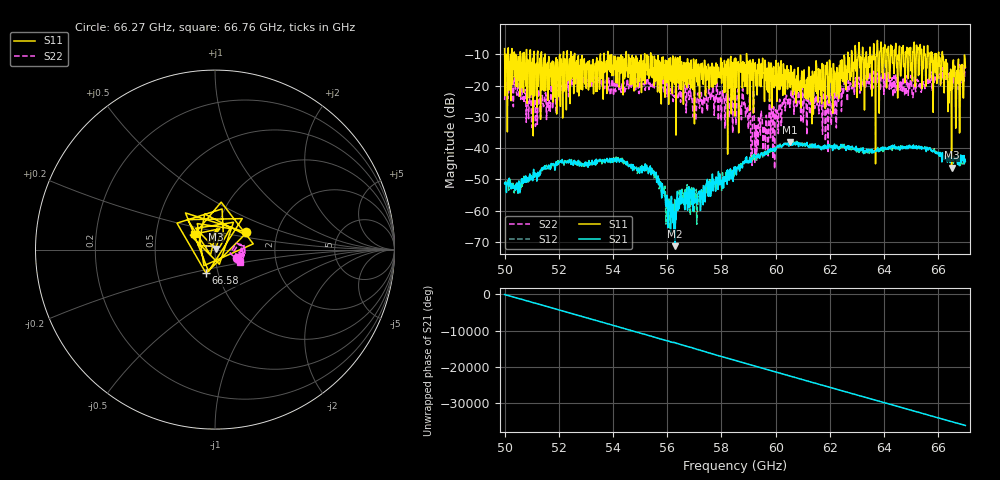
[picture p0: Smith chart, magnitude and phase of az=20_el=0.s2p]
!Created with skrf (http://scikit-rf.org).
# GHz S RI R 50.0
!freq ReS11 ImS11 ReS21 ImS21 ReS12 ImS12 ReS22 ImS22
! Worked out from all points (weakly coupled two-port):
!   1001 points, 50 GHz to 67 GHz, reference 50 ohm
!   highest |S21| = -38.06 dB at 60.54 GHz (marker M1); lowest = -71.3 dB at 56.29 GHz (marker M2)
!   lowest |S11| = -46.2 dB at 66.49 GHz (marker M3), VSWR 1.01, Z = 50.4 + j0.311 ohm
!   |S11| at or under -10 dB: 52.58 GHz to 53.53 GHz (949.9 MHz wide, 1.79 % of centre); 55.39 GHz to 58.92 GHz (3.534 GHz wide, 6.18 % of centre); 58.93 GHz to 62.66 GHz (3.737 GHz wide, 6.15 % of centre) (the widest 3 of 63)
!   |S22| runs from -46.7 to -13.3 dB; largest |S21 - S12| = 0.0024
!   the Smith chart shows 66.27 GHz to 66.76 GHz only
!   S11 on the Smith chart (normalised r, x): 66.27 GHz: 1.39, +0.28; 66.58 GHz: 0.88, -0.24; 66.76 GHz: 0.78, +0.14
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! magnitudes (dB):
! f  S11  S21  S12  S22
! 50 GHz  -8.2  -51.3  -51.1  -24.6
! 50.15 GHz  -21.5  -52.2  -53.4  -21.1
! 51.14 GHz  -13.9  -48.7  -48.8  -33.0
! 52.84 GHz  -12.1  -44.8  -45.8  -20.1
! 54.25 GHz  -14.3  -43.9  -43.6  -20.3
! 55.68 GHz  -13.4  -51.6  -51.0  -21.3
! 56.29 GHz  -11.4  -71.3  -66.6  -22.1
! 56.53 GHz  -12.3  -57.7  -57.3  -21.8
! 57.17 GHz  -15.2  -53.8  -55.5  -26.2
! 58.5 GHz  -29.8  -47.2  -47.1  -23.3
! 58.86 GHz  -20.2  -44.0  -44.1  -24.9
! 59.3 GHz  -15.2  -42.4  -42.7  -44.1
! 60.54 GHz  -20.6  -38.1  -38.8  -26.5
! 61.34 GHz  -32.2  -39.0  -38.3  -26.7
! 61.88 GHz  -16.4  -40.1  -39.5  -24.0
! 62.55 GHz  -11.3  -39.5  -39.4  -18.6
! 64.18 GHz  -12.0  -39.5  -40.1  -17.4
! 66.27 GHz  -14.0  -43.5  -42.7  -17.7
! 66.49 GHz  -46.2  -42.9  -44.0  -15.5
! 66.58 GHz  -17.0  -43.3  -42.5  -15.7
! 66.76 GHz  -16.9  -43.6  -45.3  -16.2
! 67 GHz  -14.1  -44.2  -43.3  -14.4
